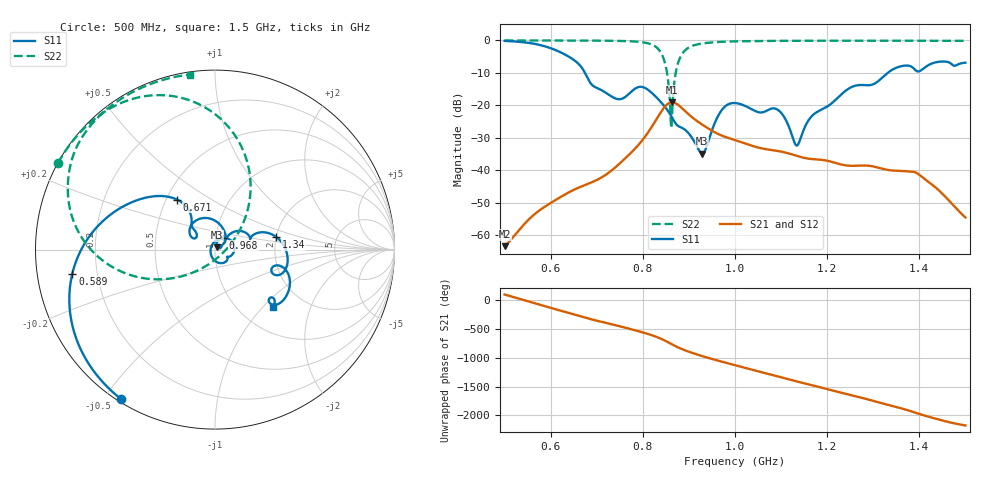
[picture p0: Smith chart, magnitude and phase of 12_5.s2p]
! TOUCHSTONE file generated by CST MICROWAVE STUDIO
! Date and time: Mon Oct 26 12:26:15 2020
! Project name: Scenario_1_Circular_Tissue_out_of_Line.cst
! Parameters = {dy1=-155.249; L_HA=400; MT=2.54; Rad_Dielectric=30; Rad_Lower=7.3; Rad_Upper=30; a_HA=580; a_WG=246; b_HA=500; b_WG=121; c_HA=0; c_WG=187; d_feed=85; dx1=866; h_feed=15; h_lower=18; h_upper=40}
! Header version: 2018
! Port assignment regex: !\s*Touchstone port\s*([0-9]+)\s*=\s*(CST MWS port|CST DS port)\s*([0-9]+|Zmin|Zmax)\s*\(\"(.*)\"\)(\s*mode\s*([0-9]+))?.*
! Touchstone port assignment:
! Touchstone port 1 = CST MWS port 1 ("")
! Touchstone port 2 = CST MWS port 2 ("")
# GHz S DB R 50
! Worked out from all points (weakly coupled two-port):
!   1001 points, 500 MHz to 1.5 GHz, reference 50 ohm
!   highest |S21| = -19.02 dB at 863 MHz (marker M1); lowest = -63.3 dB at 500 MHz (marker M2)
!   lowest |S11| = -34.9 dB at 929 MHz (marker M3), VSWR 1.04, Z = 51.3 + j1.27 ohm
!   |S11| at or under -10 dB: 674.5 MHz to 1.331 GHz (656.9 MHz wide, 65.5 % of centre)
!   |S22| runs from -27.0 to 0.0 dB; largest |S21 - S12| = 7.6e-06
!   S11 on the Smith chart (normalised r, x): 500 MHz: 0.01, -0.55; 589 MHz: 0.11, -0.08; 671 MHz: 0.57, +0.36; 968 MHz: 1.09, +0.14; 1.34 GHz: 2.01, +0.32; 1.5 GHz: 1.43, -1.14
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0.5  -0.14 -122.3  -63.33 97.0  -63.33 97.0  -0.01 151.1
0.589  -1.87 -170.5  -51.02 -108.8  -51.02 -108.8  -0.02 145.0
0.667  -8.29 130.6  -44.94 72.0  -44.94 72.0  -0.04 138.4
0.671  -9.14 127.2  -44.71 63.2  -44.71 63.2  -0.04 138.0
0.74  -17.84 142.1  -39.11 -73.6  -39.11 -73.6  -0.13 129.5
0.781  -15.06 143.6  -33.61 -159.3  -33.61 -159.3  -0.32 120.7
0.834  -18.19 68.0  -23.24 67.9  -23.24 67.9  -2.73 87.6
0.848  -20.45 51.4  -20.37 16.8  -20.37 16.8  -6.95 64.2
0.859  -22.66 39.2  -19.13 -29.3  -19.13 -29.3  -19.69 23.0
0.863  -23.63 35.9  -19.02 -46.4  -19.02 -46.4  -23.96 -97.3
0.872  -25.73 33.7  -19.40 -83.6  -19.40 -83.6  -9.47 -150.6
0.882  -26.71 33.2  -20.47 -120.8  -20.47 -120.8  -4.95 -169.2
0.929  -34.90 43.2  -25.93 107.7  -25.93 107.7  -0.94 156.0
0.968  -22.10 54.9  -29.09 18.8  -29.09 18.8  -0.45 146.1
1  -19.27 5.1  -30.66 -50.4  -30.66 -50.4  -0.29 140.8
1.093  -21.37 -61.8  -34.03 115.1  -34.03 115.1  -0.14 130.6
1.134  -32.36 169.9  -35.54 28.3  -35.54 28.3  -0.11 127.1
1.167  -23.25 63.5  -36.51 -36.6  -36.51 -36.6  -0.10 124.4
1.334  -9.71 15.2  -39.91 -22.2  -39.91 -22.2  -0.09 111.7
1.34  -9.13 11.5  -40.02 -34.5  -40.02 -34.5  -0.09 111.2
1.397  -9.55 -19.2  -41.05 -169.1  -41.05 -169.1  -0.10 106.8
1.5  -6.85 -44.4  -54.48 -16.4  -54.48 -16.6  -0.13 98.2
